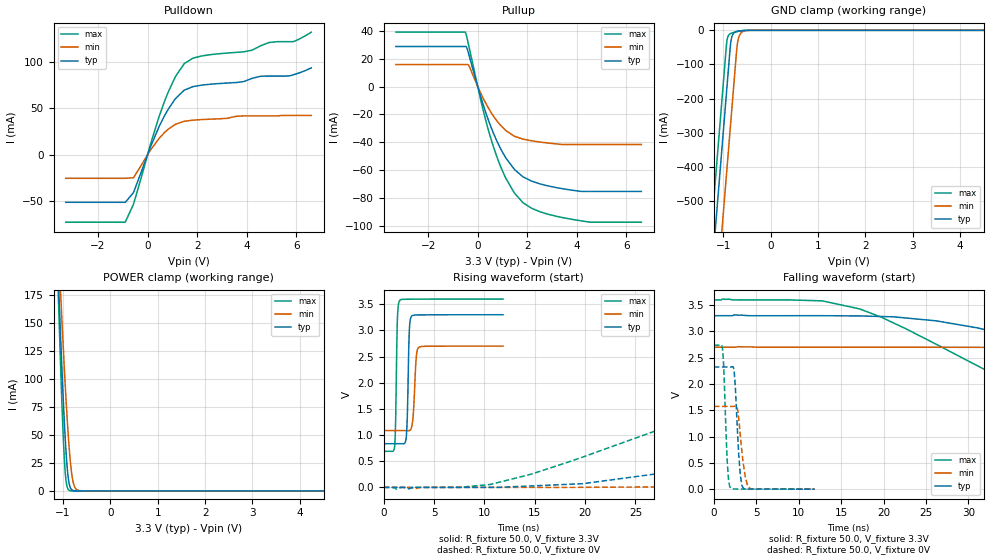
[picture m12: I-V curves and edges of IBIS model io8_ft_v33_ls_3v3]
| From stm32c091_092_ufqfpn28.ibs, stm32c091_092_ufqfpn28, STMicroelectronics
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[Model]   io8_ft_v33_ls_3v3
Model_type I/O
Polarity   Non-Inverting
Enable   Active-Low
| CAP_THRESHOLD on pad IOFT is "UDTCAPC" :
| Rising=30.0% of vddiom   Falling=70.0% of vddiom
| C_comp min and max val. don't necessarily correlate with the min and max pvt
| but are the smallest and greatest pad capacitance found.
| var   typ   min   max
C_comp   2.01847pF  1.96652pF  2.04093pF
|C_comp_pullup   1.18457pF  1.18741pF  1.15741pF
|C_comp_pulldown   833.90100fF  779.11680fF  883.51050fF
Vinl = 1.35V
Vinh = 1.8V
Vmeas = 1.65V   | Reference voltage for timing measurements
Cref  = 50.0pF   | Timing specification test load capacitance value
Rref  = 1.0MOhm   | Timing specification test load resistance value
Vref  = 1.815V   | Timing specification test load voltage
[Model Spec]
| TIME_THRESHOLD on pin ZIV33M is "CMOS" :
| Rising=50.0% of vddiom   Falling=50.0% of vddiom
Vinl 1.34770V 1.11370V 1.44970V
Vinh 1.77530V 1.49530V 1.90330V
| variable   typ   min   max
[Temperature Range] 25.0 125.0 -40.0
| variable   typ   min   max
[Voltage Range] 3.3V 2.7V 3.6V
| variable   typ   min   max
[POWER Clamp Reference] 3.3V 2.7V 3.6V
| variable   typ   min   max
[GND Clamp Reference] 0V 0V 0V
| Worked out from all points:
|   slope of the pulldown table from 0 to 0.495 V, typ, clamps not added: 15.4 ohm
|   slope of the pullup table from 0 to 0.495 V, typ, clamps not added: 18.1 ohm
|   GND clamp passes 1 mA (typ) near -0.60 V on its own axis
|   POWER clamp passes 1 mA (typ) near -0.81 V on its own axis
|   rising waveform, R_fixture 50.0, V_fixture 3.3V: 20-80 % time 170ps typ, 248ps min, 150ps max; typ from 0.835 V to 3.3 V
|   falling waveform, R_fixture 50.0, V_fixture 3.3V: 20-80 % time 38.9ns typ, 83.7ns min, 24.5ns max; typ from 3.3 V to 0.835 V
|   rising waveform, R_fixture 50.0, V_fixture 0V: 20-80 % time 47.4ns typ, 107ns min, 28.7ns max; typ from 0 V to 2.32 V
|   falling waveform, R_fixture 50.0, V_fixture 0V: 20-80 % time 465ps typ, 647ps min, 379ps max; typ from 2.33 V to 0 V
[POWER Clamp]
-3.3V     2.991A     2.543A     3.694A
-1.1V     191.1mA    222.7mA    177.1mA
-1.08V    169mA      204.2mA    149.9mA
-1.05V    136.9mA    176.9mA    110.9mA
-1.01V    96.55mA    141.6mA    64.02mA
-970mV    60.39mA    108.2mA    27.41mA
-930mV    31.08mA    77.43mA    7.282mA
-900mV    15.67mA    56.69mA    2.025mA
-860mV    4.779mA    33.42mA    315.2uA
-780mV    272.1uA    6.953mA    6.98uA
-670mV    4.467uA    374.2uA    36.58nA
6.6V      0A         0A         0A
[GND Clamp]
-3.3V     -4.209A    -4.449A    -4.067A
-1.25V    -724.3mA   -963.9mA   -582.3mA
-940mV    -197.3mA   -436.9mA   -55.31mA
-900mV    -129.3mA   -368.9mA   -18.05mA
-850mV    -45.25mA   -283.9mA   -9.777mA
-830mV    -25.62mA   -249.8mA   -8.529mA
-790mV    -10.15mA   -181.9mA   -6.665mA
-720mV    -3.762mA   -62.85mA   -4.025mA
-700mV    -3.047mA   -38.71mA   -3.371mA
-650mV    -1.786mA   -12.52mA   -1.967mA
-550mV    -403.5uA   -1.578mA   -350.4uA
6.6V      932.9pA    92.35nA    684.5pA
| variable   typ   min   max
[Pullup Reference] 3.3V 2.7V 3.6V
| variable   typ   min   max
[Pulldown Reference] 0V 0V 0V
[Pullup]
-3.3V     28.84mA    15.81mA    39.19mA
-500mV    28.84mA    15.81mA    39.05mA
-440mV    27.84mA    15.81mA    35.55mA
-350mV    22.49mA    14.78mA    28.43mA
250mV     -14.78mA   -9.467mA   -19.21mA
730mV     -37.54mA   -23.64mA   -48.39mA
1.14V     -51.54mA   -31.73mA   -66.22mA
1.48V     -59.67mA   -35.78mA   -76.65mA
1.83V     -65.01mA   -37.85mA   -83.65mA
2.51V     -70.03mA   -39.93mA   -90.06mA
3.88V     -74.77mA   -41.71mA   -95.78mA
6.6V      -75.45mA   -41.71mA   -97.6mA
[Pulldown]
-3.3V     -51.64mA   -25.66mA   -73.18mA
-900mV    -51.64mA   -25.66mA   -73.04mA
-570mV    -41.2mA    -25.04mA   -53.78mA
120mV     8.582mA    5.119mA    11.54mA
690mV     42.49mA    24.14mA    58.21mA
1.09V     59.44mA    32.3mA     82.71mA
1.48V     69.88mA    36.14mA    98.63mA
2.17V     75.22mA    37.94mA    106.8mA
3.88V     79.15mA    41.94mA    111.3mA
4.9V      85.07mA    41.94mA    121.4mA
5.88V     86.5mA     42.4mA     122.4mA
6.6V      93.9mA     42.4mA     132.7mA
[Ramp]
dV/dt_r 1.3944V/47.43653ns 945.23096mV/106.85524ns 1.64362V/28.68758ns
dV/dt_f 1.47911V/38.89212ns 967.94632mV/81.37161ns 1.74615V/24.52181ns
R_load = 50.0
| Removed startup time: 0s 0s 0s  .
| Removed end time: 11.85ns.
[Rising Waveform]
R_fixture   = 50.0
V_fixture   = 3.3V
V_fixture_min = 2.7V
V_fixture_max = 3.6V
0s        834.9mV    1.087V     689.8mV
1.1ns     834.9mV    1.087V     800.1mV
1.2ns     834.9mV    1.087V     1.375V
1.35ns    834.9mV    1.087V     3.141V
1.65ns    834.9mV    1.087V     3.584V
2.25ns    968.3mV    1.086V     3.596V
2.55ns    3.019V     1.085V     3.597V
2.75ns    3.265V     1.137V     3.597V
3.45ns    3.297V     2.672V     3.598V
11.85ns   3.3V       2.7V       3.6V
| Removed startup time: 0s 0s 0s  .
| Removed end time: 749.875ns.
[Falling Waveform]
R_fixture   = 50.0
V_fixture   = 3.3V
V_fixture_min = 2.7V
V_fixture_max = 3.6V
0s        3.3V       2.7V       3.6V
12.78ns   3.3V       2.7V       3.582V
26.23ns   3.202V     2.699V     2.755V
47.93ns   2.379V     2.653V     1.251V
55.13ns   2.065V     2.606V     983.1mV
72.35ns   1.455V     2.428V     806.4mV
90.8ns    1.081V     2.197V     749mV
148.3ns   889.8mV    1.493V     700.1mV
250ns     841.4mV    1.169V     690.3mV
749.9ns   834.8mV    1.087V     689.7mV
| Removed startup time: 0s 0s 0s  .
| Removed end time: 749.85ns.
[Rising Waveform]
R_fixture   = 50.0
V_fixture   = 0V
V_fixture_min = 0V
V_fixture_max = 0V
0s        369.9nV    466.3nV    1.396uV
10.6ns    -28.77uV   23.58uV    56.15mV
19.8ns    71.02mV    926.3uV    582.1mV
34.65ns   496.2mV    18.6mV     1.583V
53.5ns    1.149V     135.9mV    2.385V
81ns      1.858V     378.9mV    2.65V
118.5ns   2.199V     777.8mV    2.716V
185.1ns   2.304V     1.283V     2.738V
249.9ns   2.321V     1.472V     2.738V
749.9ns   2.324V     1.575V     2.739V
| Removed startup time: 0s 0s 0s  .
| Removed end time: 11.875ns.
[Falling Waveform]
R_fixture   = 50.0
V_fixture   = 0V
V_fixture_min = 0V
V_fixture_max = 0V
0s        2.325V     1.575V     2.739V
1.025ns   2.325V     1.575V     2.669V
1.6ns     2.325V     1.575V     495.3mV
1.9ns     2.325V     1.575V     41.49mV
2.4ns     2.23V      1.576V     4.247mV
2.75ns    1.235V     1.553V     2.868mV
3.1ns     315.7mV    1.065V     2.258mV
3.5ns     15.97mV    465.2mV    1.714mV
4.35ns    2.025mV    3.756mV    1.244mV
11.88ns   284.7uV    112.4uV    376.1uV
